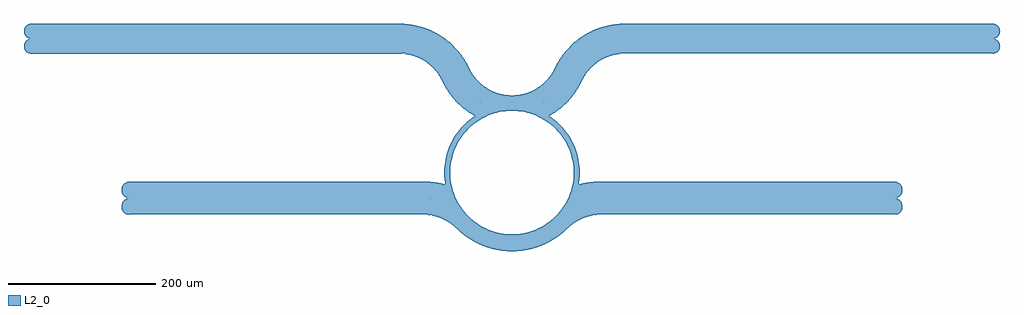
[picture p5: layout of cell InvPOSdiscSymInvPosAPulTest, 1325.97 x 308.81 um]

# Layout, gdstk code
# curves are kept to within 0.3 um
import gdstk
lib = gdstk.Library(unit=1e-6, precision=1e-09)
def P(c, l, *ps):  # polygons
    for p in ps: c.add(gdstk.Polygon(p, *l))
L2_0 = (2, 0)

invposdiscsyminvposapult = lib.new_cell('InvPOSdiscSymInvPosAPulTest')
P(invposdiscsyminvposapult, L2_0, [(100,93.25),(88.885,93.83),(78.532,95.431),(67.761,98.235),(57.34,102.145),(47.383,107.118),(38.532,112.723),(30.771,118.742),(19.725,128.832),(11.926,134.219),(6.538,137.014),(0.543,139.39),(-5.667,141.129),(-12.024,142.212),(-19.218,142.632),(-419.507,142.635),(-424.074,143.736),(-427.687,146.502),(-429.915,150.501),(-430.345,155.118),(-429.193,158.931),(-426.749,162.122),(-423.325,164.255),(-419.507,165.028),(-13.02,164.804),(-4.306,163.701),(4.247,161.698),(12.545,158.815),(20.497,155.084),(26.725,151.402),(32.615,147.2),(44.905,136.129),(51.431,131.037),(58.875,126.354),(66.767,122.473),(75.02,119.434),(83.544,117.271),(92.247,116.007),(101.035,115.656),(109.297,116.164),(117.976,117.588),(125.967,119.746),(134.182,122.886),(141.576,126.608),(148.992,131.336),(155.095,136.129),(167.385,147.2),(179.048,154.839),(186.977,158.619),(194.762,161.404),(202.782,163.413),(211.475,164.675),(219.218,165.032),(620.504,164.959),(624.437,163.744),(627.687,161.161),(629.739,157.683),(630.415,153.543),(629.538,149.472),(627.326,146.104),(623.827,143.621),(619.795,142.646),(219.218,142.632),(210.894,142.069),(199.098,139.268),(188.074,134.219),(180.275,128.832),(169.726,119.168),(162.002,113.102),(152.617,107.118),(143.26,102.408),(132.863,98.434),(122.109,95.565),(111.115,93.83)],
  [(100,115.75),(91.228,116.208),(82.551,117.577),(74.064,119.842),(65.858,122.978),(58.024,126.951),(51.066,131.417),(44.97,136.205),(32.677,147.279),(21.454,154.678),(13.539,158.512),(5.762,161.348),(-2.255,163.409),(-10.436,164.673),(-19.218,165.132),(-419.507,165.135),(-422.417,165.595),(-425.141,166.824),(-427.418,168.702),(-429.13,171.113),(-430.131,173.802),(-430.415,176.621),(-429.993,179.398),(-428.934,181.907),(-427.232,184.156),(-425.026,185.91),(-422.417,187.068),(-419.651,187.524),(-18.563,187.53),(-4.203,186.471),(9.5,183.596),(8.111,195.486),(8.443,209.018),(10.757,222.354),(15.003,235.207),(21.089,247.297),(28.883,258.364),(38.217,268.168),(49.767,277.052),(42.244,281.591),(34.751,287.046),(27.771,293.142),(21.358,299.832),(16.112,306.318),(11.4,313.201),(0.468,333.02),(-7.035,342.298),(-11.617,346.558),(-17.063,350.672),(-22.914,354.184),(-28.578,356.842),(-39.988,360.333),(-46.17,361.299),(-52.416,361.66),(-552.985,361.662),(-552.985,381.662),(-52.985,381.662),(-40.346,380.708),(-28.708,378.086),(-17.556,373.846),(-6.493,367.663),(2.962,360.387),(9.826,353.538),(16.283,345.333),(20.614,338.363),(27.555,325.109),(33.986,315.892),(42.675,306.582),(52.044,299.105),(63.049,292.696),(74.891,288.012),(87.301,285.158),(100,284.2),(112.699,285.158),(125.109,288.012),(136.951,292.696),(147.956,299.105),(157.325,306.582),(166.014,315.892),(172.445,325.109),(179.386,338.363),(183.717,345.333),(190.174,353.538),(197.038,360.387),(206.493,367.663),(217.556,373.846),(228.708,378.086),(240.346,380.708),(252.985,381.662),(752.985,381.662),(752.985,361.662),(252.416,361.66),(246.17,361.299),(239.988,360.333),(228.578,356.842),(222.914,354.184),(217.063,350.672),(211.617,346.558),(207.035,342.298),(199.532,333.02),(188.6,313.201),(183.888,306.318),(178.642,299.832),(172.229,293.142),(165.249,287.046),(157.756,281.591),(150.233,277.052),(158.364,271.117),(168.168,261.783),(173.895,254.804),(181.137,243.368),(184.997,235.207),(189.243,222.354),(191.557,209.018),(192,200),(184,200),(183.091,212.325),(181.483,220.41),(179.09,228.299),(175.935,235.915),(172.049,243.185),(164.933,253.289),(156.411,262.24),(146.668,269.843),(135.915,275.935),(124.384,280.383),(116.388,282.386),(108.233,283.596),(95.878,283.899),(83.612,282.386),(71.701,279.09),(60.403,274.081),(49.961,267.469),(40.603,259.397),(32.531,250.039),(27.951,243.185),(24.065,235.915),(20.91,228.299),(17.614,216.388),(16.404,208.233),(16.101,195.878),(16.909,187.675),(18.517,179.59),(20.91,171.701),(24.065,164.085),(27.951,156.815),(35.067,146.711),(40.603,140.603),(46.711,135.067),(56.815,127.951),(64.085,124.065),(71.701,120.91),(83.612,117.614),(91.767,116.404),(104.122,116.101),(116.388,117.614),(124.384,119.617),(135.915,124.065),(143.185,127.951),(153.289,135.067),(159.397,140.603),(164.933,146.711),(172.049,156.815),(177.606,167.855),(181.483,179.59),(183.596,191.767),(184,200),(192,200),(191.557,190.982),(190.5,183.596),(204.203,186.471),(218.563,187.53),(619.651,187.524),(622.417,187.068),(625.026,185.91),(627.232,184.156),(628.934,181.907),(629.993,179.398),(630.415,176.621),(630.131,173.802),(629.13,171.113),(627.418,168.702),(625.141,166.824),(622.417,165.595),(619.507,165.135),(219.218,165.132),(210.436,164.673),(202.255,163.409),(194.238,161.348),(186.461,158.512),(178.546,154.678),(167.323,147.279),(155.03,136.205),(148.934,131.417),(141.976,126.951),(134.142,122.978),(125.936,119.842),(117.449,117.577),(108.772,116.208)],
  [(100,284.6),(87.361,285.554),(75.009,288.394),(63.223,293.056),(51.658,299.86),(42.4,307.385),(33.834,316.726),(27.515,325.957),(20.963,338.558),(16.612,345.56),(10.621,353.243),(3.786,360.185),(-5.648,367.579),(-16.033,373.566),(-26.447,377.792),(-38.067,380.736),(-45.496,381.73),(-52.985,382.062),(-552.985,382.062),(-552.985,402.062),(-52.985,402.062),(-37.284,400.877),(-22.826,397.62),(-9.816,392.738),(3.217,385.681),(14.415,377.453),(23.164,369.174),(31.454,359.198),(37.53,349.885),(45.024,335.645),(49.904,328.65),(56.081,321.973),(63.141,316.236),(71.448,311.298),(80.403,307.664),(90.363,305.327),(100,304.6),(109.637,305.327),(119.597,307.664),(128.552,311.298),(136.859,316.236),(143.919,321.973),(150.096,328.65),(154.976,335.645),(162.47,349.885),(168.546,359.198),(176.836,369.174),(185.585,377.453),(196.783,385.681),(209.816,392.738),(222.826,397.62),(237.284,400.877),(252.985,402.062),(752.985,402.062),(752.985,382.062),(252.985,382.062),(245.496,381.73),(238.067,380.736),(226.447,377.792),(216.033,373.566),(205.648,367.579),(196.214,360.185),(189.379,353.243),(183.388,345.56),(179.037,338.558),(172.485,325.957),(166.166,316.726),(157.6,307.385),(148.342,299.86),(136.777,293.056),(124.991,288.394),(112.639,285.554)],
  [(-552.985,361.662),(-556.877,362.448),(-560.056,364.591),(-562.199,367.77),(-562.985,371.662),(-562.199,375.554),(-560.056,378.733),(-556.877,380.876),(-552.985,381.662)],
  [(752.985,361.662),(752.985,381.662),(756.877,380.876),(760.056,378.733),(762.199,375.554),(762.985,371.662),(762.199,367.77),(760.056,364.591),(756.877,362.448)],
  [(-552.985,382.062),(-556.877,382.848),(-560.056,384.991),(-562.199,388.17),(-562.985,392.062),(-562.199,395.954),(-560.056,399.133),(-556.877,401.276),(-552.985,402.062)],
  [(752.985,382.062),(752.985,402.062),(756.877,401.276),(760.056,399.133),(762.199,395.954),(762.985,392.062),(762.199,388.17),(760.056,384.991),(756.877,382.848)])

lib.write_gds('InvPOSdiscSymInvPosAPulTest.gds')
